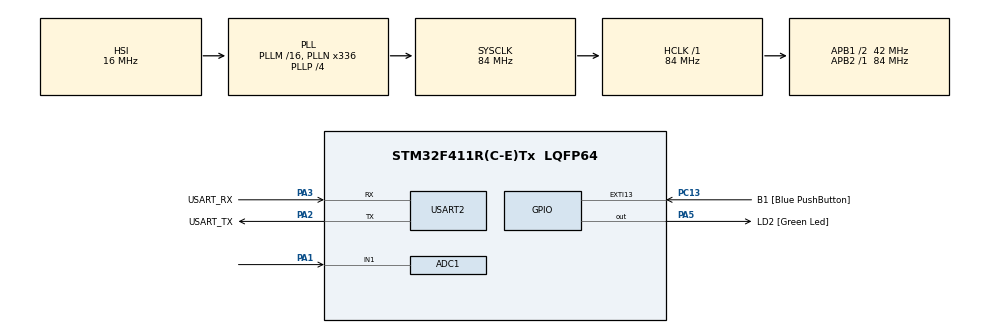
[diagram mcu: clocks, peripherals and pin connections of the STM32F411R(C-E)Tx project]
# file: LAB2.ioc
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ADC1.Channel-1\#ChannelRegularConversion=ADC_CHANNEL_TEMPSENSOR
ADC1.Channel-2\#ChannelRegularConversion=ADC_CHANNEL_1
ADC1.ContinuousConvMode=ENABLE
ADC1.DMAContinuousRequests=ENABLE
ADC1.NbrOfConversion=2
ADC1.NbrOfConversionFlag=1
ADC1.Rank-1\#ChannelRegularConversion=1
ADC1.Rank-2\#ChannelRegularConversion=2
ADC1.SamplingTime-1\#ChannelRegularConversion=ADC_SAMPLETIME_56CYCLES
ADC1.SamplingTime-2\#ChannelRegularConversion=ADC_SAMPLETIME_56CYCLES
ADC1.ScanConvMode=ENABLE
ADC1.master=1
Dma.ADC1.0.Direction=DMA_PERIPH_TO_MEMORY
Dma.ADC1.0.FIFOMode=DMA_FIFOMODE_DISABLE
Dma.ADC1.0.Instance=DMA2_Stream0
Dma.ADC1.0.MemDataAlignment=DMA_MDATAALIGN_HALFWORD
Dma.ADC1.0.MemInc=DMA_MINC_ENABLE
Dma.ADC1.0.Mode=DMA_CIRCULAR
Dma.ADC1.0.PeriphDataAlignment=DMA_PDATAALIGN_HALFWORD
Dma.ADC1.0.PeriphInc=DMA_PINC_DISABLE
Dma.ADC1.0.Priority=DMA_PRIORITY_LOW
Dma.Request0=ADC1
Mcu.Family=STM32F4
Mcu.Name=STM32F411R(C-E)Tx
Mcu.Package=LQFP64
NVIC.ADC_IRQn=true\:0\:0\:false\:false\:true\:true\:true\:true
NVIC.DMA2_Stream0_IRQn=true\:0\:0\:false\:false\:true\:false\:true\:true
NVIC.EXTI15_10_IRQn=true\:0\:0\:false\:false\:true\:true\:true\:true
NVIC.PriorityGroup=NVIC_PRIORITYGROUP_0
PA1.Signal=ADCx_IN1
PA13.GPIO_Label=TMS
PA13.Mode=Serial_Wire
PA13.Signal=SYS_JTMS-SWDIO
PA14.GPIO_Label=TCK
PA14.Mode=Serial_Wire
PA14.Signal=SYS_JTCK-SWCLK
PA2.GPIO_Label=USART_TX
PA2.Mode=Asynchronous
PA2.Signal=USART2_TX
PA3.GPIO_Label=USART_RX
PA3.Mode=Asynchronous
PA3.Signal=USART2_RX
PA5.GPIO_Label=LD2 [Green Led]
PA5.Signal=GPIO_Output
PB3.GPIO_Label=SWO
PB3.Signal=SYS_JTDO-SWO
PC13-ANTI_TAMP.GPIO_Label=B1 [Blue PushButton]
PC13-ANTI_TAMP.GPIO_ModeDefaultEXTI=GPIO_MODE_IT_FALLING
PC13-ANTI_TAMP.Signal=GPXTI13
PC14-OSC32_IN.Mode=LSE-External-Oscillator
PC14-OSC32_IN.Signal=RCC_OSC32_IN
PC15-OSC32_OUT.Mode=LSE-External-Oscillator
PC15-OSC32_OUT.Signal=RCC_OSC32_OUT
PH0\ -\ OSC_IN.Mode=HSE-External-Clock-Source
PH0\ -\ OSC_IN.Signal=RCC_OSC_IN
PH1\ -\ OSC_OUT.Mode=HSE-External-Clock-Source
PH1\ -\ OSC_OUT.Signal=RCC_OSC_OUT
ProjectManager.HeapSize=0x200
ProjectManager.StackSize=0x400
ProjectManager.TargetToolchain=STM32CubeIDE
RCC.48MHZClocksFreq_Value=84000000
RCC.AHBFreq_Value=84000000
RCC.APB1CLKDivider=RCC_HCLK_DIV2
RCC.APB1Freq_Value=42000000
RCC.APB1TimFreq_Value=84000000
RCC.APB2Freq_Value=84000000
RCC.APB2TimFreq_Value=84000000
RCC.CortexFreq_Value=84000000
RCC.FLatency-AdvancedSettings=FLASH_LATENCY_2
RCC.HCLKFreq_Value=84000000
RCC.HSE_VALUE=8000000
RCC.HSI_VALUE=16000000
RCC.PLLN=336
RCC.PLLP=RCC_PLLP_DIV4
RCC.SYSCLKFreq_VALUE=84000000
RCC.SYSCLKSource=RCC_SYSCLKSOURCE_PLLCLK
RCC.VCOOutputFreq_Value=336000000
SH.ADCx_IN1.0=ADC1_IN1,IN1
USART2.VirtualMode=VM_ASYNC
VP_ADC1_TempSens_Input.Mode=IN-TempSens
board=NUCLEO-F411RE

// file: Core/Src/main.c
/* USER CODE BEGIN Header */
/**
  ******************************************************************************
  * @file           : main.c
  * @brief          : Main program body
  ******************************************************************************
  * @attention
  *
  * Copyright (c) 2023 STMicroelectronics.
  * All rights reserved.
  *
  * This software is licensed under terms that can be found in the LICENSE file
  * in the root directory of this software component.
  * If no LICENSE file comes with this software, it is provided AS-IS.
  *
  ******************************************************************************
  */
/* USER CODE END Header */
#include "main.h"

ADC_HandleTypeDef hadc1;
DMA_HandleTypeDef hdma_adc1;

UART_HandleTypeDef huart2;

/* USER CODE BEGIN PV */
struct SubData
	{
		uint16_t TempSensor;
		uint16_t ADC_IN1;
	};
struct SubData buffer[10];
int16_t a[20];
uint16_t Temp = 0;
uint16_t  Adc = 0 ;
uint16_t Sum1 = 0;
uint16_t Sum2 =0 ;
float Analog = 0;
float FinalAnalog =0;
float FinalTemp = 0;
float Vsense =0 ;

/* USER CODE END PV */

void SystemClock_Config(void);
static void MX_GPIO_Init(void);
static void MX_DMA_Init(void);
static void MX_USART2_UART_Init(void);
static void MX_ADC1_Init(void);
/* USER CODE BEGIN PFP */
void HAL_GPIO_EXIT_Callback(uint16_t GPIO_Pin);
/* USER CODE END PFP */

int main(void)
{

  /* MCU Configuration--------------------------------------------------------*/

  /* Reset of all peripherals, Initializes the Flash interface and the Systick. */
  HAL_Init();

  /* Configure the system clock */
  SystemClock_Config();

  /* Initialize all configured peripherals */
  MX_GPIO_Init();
  MX_DMA_Init();
  MX_USART2_UART_Init();
  MX_ADC1_Init();

  /* Infinite loop */
  while (1)
  {

    /* USER CODE BEGIN 3 */
	  static uint32_t timestamp=0;
	  	  if(HAL_GetTick()>=timestamp)
	  	  {
	  		  timestamp =HAL_GetTick() + 10;

	  		  Adc =0;
	  		  Temp = 0;
	  		  register int a;
	  		  for (a=0 ; a<10 ; a++)
	  		  {
	  			  Temp += buffer[a].TempSensor;
	  			  Adc += buffer[a].ADC_IN1;
	  		  }
	  		  Sum1 = Temp /10 ;
	  		  Sum2 = Adc / 10 ;
	  		  Analog = (Sum2 * 3.3)/4096; // Change ADC to Voltage  // 4096 = 2^12
	  		  FinalAnalog = (Analog *2)*1000;
	  		  Vsense = (Sum1 * 3.3)/4096; // Change ADC to Voltage
	  		  FinalTemp = (((Vsense-0.76)/2.5)+25)+274.15; // ChangeTemp C to k

	  	  }

  }
  /* USER CODE END 3 */
}

void SystemClock_Config(void)
{
  RCC_OscInitTypeDef RCC_OscInitStruct = {0};
  RCC_ClkInitTypeDef RCC_ClkInitStruct = {0};

  /** Configure the main internal regulator output voltage
  */
  __HAL_RCC_PWR_CLK_ENABLE();
  __HAL_PWR_VOLTAGESCALING_CONFIG(PWR_REGULATOR_VOLTAGE_SCALE1);

  /** Initializes the RCC Oscillators according to the specified parameters
  * in the RCC_OscInitTypeDef structure.
  */
  RCC_OscInitStruct.OscillatorType = RCC_OSCILLATORTYPE_HSI;
  RCC_OscInitStruct.HSIState = RCC_HSI_ON;
  RCC_OscInitStruct.HSICalibrationValue = RCC_HSICALIBRATION_DEFAULT;
  RCC_OscInitStruct.PLL.PLLState = RCC_PLL_ON;
  RCC_OscInitStruct.PLL.PLLSource = RCC_PLLSOURCE_HSI;
  RCC_OscInitStruct.PLL.PLLM = 16;
  RCC_OscInitStruct.PLL.PLLN = 336;
  RCC_OscInitStruct.PLL.PLLP = RCC_PLLP_DIV4;
  RCC_OscInitStruct.PLL.PLLQ = 4;
  if (HAL_RCC_OscConfig(&RCC_OscInitStruct) != HAL_OK)
  {
    Error_Handler();
  }

  /** Initializes the CPU, AHB and APB buses clocks
  */
  RCC_ClkInitStruct.ClockType = RCC_CLOCKTYPE_HCLK|RCC_CLOCKTYPE_SYSCLK
                              |RCC_CLOCKTYPE_PCLK1|RCC_CLOCKTYPE_PCLK2;
  RCC_ClkInitStruct.SYSCLKSource = RCC_SYSCLKSOURCE_PLLCLK;
  RCC_ClkInitStruct.AHBCLKDivider = RCC_SYSCLK_DIV1;
  RCC_ClkInitStruct.APB1CLKDivider = RCC_HCLK_DIV2;
  RCC_ClkInitStruct.APB2CLKDivider = RCC_HCLK_DIV1;

  if (HAL_RCC_ClockConfig(&RCC_ClkInitStruct, FLASH_LATENCY_2) != HAL_OK)
  {
    Error_Handler();
  }
}

static void MX_ADC1_Init(void)
{

  ADC_ChannelConfTypeDef sConfig = {0};

  /** Configure the global features of the ADC (Clock, Resolution, Data Alignment and number of conversion)
  */
  hadc1.Instance = ADC1;
  hadc1.Init.ClockPrescaler = ADC_CLOCK_SYNC_PCLK_DIV4;
  hadc1.Init.Resolution = ADC_RESOLUTION_12B;
  hadc1.Init.ScanConvMode = ENABLE;
  hadc1.Init.ContinuousConvMode = ENABLE;
  hadc1.Init.DiscontinuousConvMode = DISABLE;
  hadc1.Init.ExternalTrigConvEdge = ADC_EXTERNALTRIGCONVEDGE_NONE;
  hadc1.Init.ExternalTrigConv = ADC_SOFTWARE_START;
  hadc1.Init.DataAlign = ADC_DATAALIGN_RIGHT;
  hadc1.Init.NbrOfConversion = 2;
  hadc1.Init.DMAContinuousRequests = ENABLE;
  hadc1.Init.EOCSelection = ADC_EOC_SINGLE_CONV;
  if (HAL_ADC_Init(&hadc1) != HAL_OK)
  {
    Error_Handler();
  }

  /** Configure for the selected ADC regular channel its corresponding rank in the sequencer and its sample time.
  */
  sConfig.Channel = ADC_CHANNEL_TEMPSENSOR;
  sConfig.Rank = 1;
  sConfig.SamplingTime = ADC_SAMPLETIME_56CYCLES;
  if (HAL_ADC_ConfigChannel(&hadc1, &sConfig) != HAL_OK)
  {
    Error_Handler();
  }

  /** Configure for the selected ADC regular channel its corresponding rank in the sequencer and its sample time.
  */
  sConfig.Channel = ADC_CHANNEL_1;
  sConfig.Rank = 2;
  if (HAL_ADC_ConfigChannel(&hadc1, &sConfig) != HAL_OK)
  {
    Error_Handler();
  }

}

static void MX_USART2_UART_Init(void)
{

  huart2.Instance = USART2;
  huart2.Init.BaudRate = 115200;
  huart2.Init.WordLength = UART_WORDLENGTH_8B;
  huart2.Init.StopBits = UART_STOPBITS_1;
  huart2.Init.Parity = UART_PARITY_NONE;
  huart2.Init.Mode = UART_MODE_TX_RX;
  huart2.Init.HwFlowCtl = UART_HWCONTROL_NONE;
  huart2.Init.OverSampling = UART_OVERSAMPLING_16;
  if (HAL_UART_Init(&huart2) != HAL_OK)
  {
    Error_Handler();
  }

}

static void MX_DMA_Init(void)
{

  /* DMA controller clock enable */
  __HAL_RCC_DMA2_CLK_ENABLE();

  /* DMA interrupt init */
  /* DMA2_Stream0_IRQn interrupt configuration */
  HAL_NVIC_SetPriority(DMA2_Stream0_IRQn, 0, 0);
  HAL_NVIC_EnableIRQ(DMA2_Stream0_IRQn);

}

static void MX_GPIO_Init(void)
{
  GPIO_InitTypeDef GPIO_InitStruct = {0};

  /* GPIO Ports Clock Enable */
  __HAL_RCC_GPIOC_CLK_ENABLE();
  __HAL_RCC_GPIOH_CLK_ENABLE();
  __HAL_RCC_GPIOA_CLK_ENABLE();
  __HAL_RCC_GPIOB_CLK_ENABLE();

  /*Configure GPIO pin Output Level */
  HAL_GPIO_WritePin(LD2_GPIO_Port, LD2_Pin, GPIO_PIN_RESET);

  /*Configure GPIO pin : B1_Pin */
  GPIO_InitStruct.Pin = B1_Pin;
  GPIO_InitStruct.Mode = GPIO_MODE_IT_FALLING;
  GPIO_InitStruct.Pull = GPIO_NOPULL;
  HAL_GPIO_Init(B1_GPIO_Port, &GPIO_InitStruct);

  /*Configure GPIO pin : LD2_Pin */
  GPIO_InitStruct.Pin = LD2_Pin;
  GPIO_InitStruct.Mode = GPIO_MODE_OUTPUT_PP;
  GPIO_InitStruct.Pull = GPIO_NOPULL;
  GPIO_InitStruct.Speed = GPIO_SPEED_FREQ_LOW;
  HAL_GPIO_Init(LD2_GPIO_Port, &GPIO_InitStruct);

  /* EXTI interrupt init*/
  HAL_NVIC_SetPriority(EXTI15_10_IRQn, 0, 0);
  HAL_NVIC_EnableIRQ(EXTI15_10_IRQn);

}

/* USER CODE BEGIN 4 */
void HAL_GPIO_EXTI_Callback(uint16_t GPIO_Pin)
{
	if(GPIO_Pin == GPIO_PIN_13)
	{
		HAL_ADC_Start_DMA(&hadc1, buffer,20);
	}
}

/* USER CODE END 4 */

void Error_Handler(void)
{
  __disable_irq();
  while (1)
  {
  }
}
